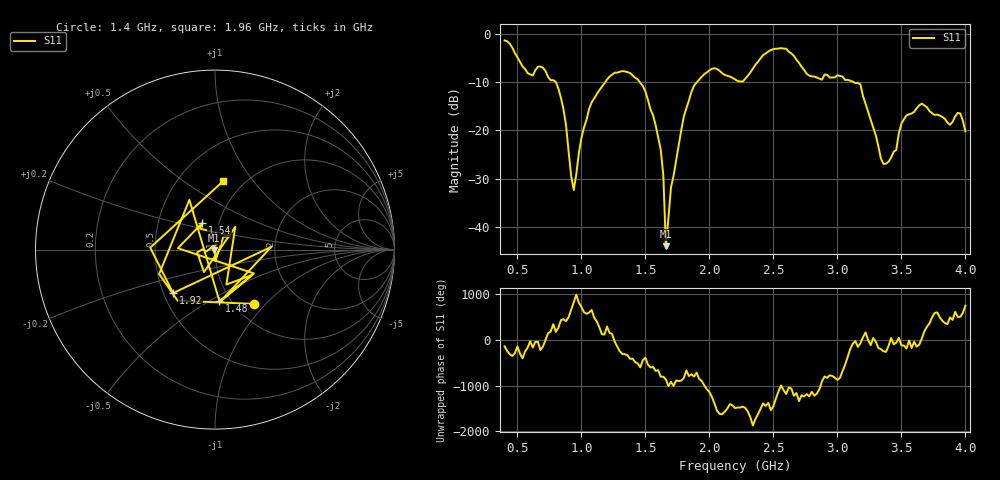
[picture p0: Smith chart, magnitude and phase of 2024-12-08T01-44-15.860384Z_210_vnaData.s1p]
!Created with skrf (http://scikit-rf.org).
# Hz S RI R 50.0
!freq ReS11 ImS11
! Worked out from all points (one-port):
!   181 points, 400 MHz to 4 GHz, reference 50 ohm
!   lowest |S11| = -44.0 dB at 1.66 GHz (marker M1), VSWR 1.01, Z = 49.5 - j0.348 ohm
!   |S11| at or under -10 dB: 800.9 MHz to 1.185 GHz (384.3 MHz wide, 38.7 % of centre); 1.457 GHz to 1.902 GHz (444.8 MHz wide, 26.5 % of centre); 3.129 GHz to end of sweep
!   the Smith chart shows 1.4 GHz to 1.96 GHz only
!   S11 on the Smith chart (normalised r, x): 1.4 GHz: 1.23, -0.86; 1.48 GHz: 0.89, -0.56; 1.54 GHz: 0.83, +0.25; 1.92 GHz: 0.56, -0.31; 1.96 GHz: 0.81, +0.72
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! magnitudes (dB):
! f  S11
! 400 MHz  -1.3
! 580 MHz  -8.1
! 800 MHz  -9.9
! 860 MHz  -15.6
! 940 MHz  -32.4
! 1.06 GHz  -15.5
! 1.3 GHz  -7.8
! 1.4 GHz  -8.6
! 1.48 GHz  -10.8
! 1.54 GHz  -15.7
! 1.62 GHz  -24.0
! 1.64 GHz  -29.3
! 1.66 GHz  -44.0
! 1.7 GHz  -31.8
! 1.76 GHz  -23.0
! 1.86 GHz  -12.0
! 1.92 GHz  -9.5
! 1.96 GHz  -8.3
! 2.2 GHz  -9.4
! 2.48 GHz  -3.3
! 2.66 GHz  -4.5
! 2.78 GHz  -8.6
! 3.1 GHz  -9.7
! 3.18 GHz  -10.5
! 3.36 GHz  -26.9
! 3.56 GHz  -16.6
! 3.96 GHz  -16.5
! 4 GHz  -20.2
